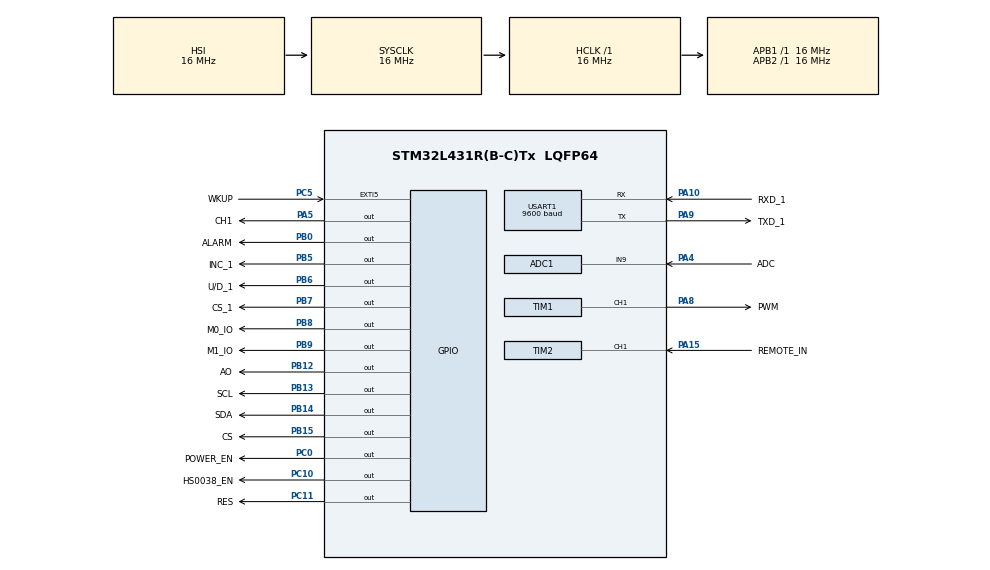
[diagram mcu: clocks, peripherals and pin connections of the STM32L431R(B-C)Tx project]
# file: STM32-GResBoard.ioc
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ADC1.Channel-0\#ChannelRegularConversion=ADC_CHANNEL_9
ADC1.NbrOfConversionFlag=1
ADC1.OffsetNumber-0\#ChannelRegularConversion=ADC_OFFSET_NONE
ADC1.Rank-0\#ChannelRegularConversion=1
ADC1.SamplingTime-0\#ChannelRegularConversion=ADC_SAMPLETIME_2CYCLES_5
ADC1.master=1
Mcu.Family=STM32L4
Mcu.Name=STM32L431R(B-C)Tx
Mcu.Package=LQFP64
NVIC.EXTI9_5_IRQn=true\:0\:0\:false\:false\:true\:true\:true\:true
NVIC.PriorityGroup=NVIC_PRIORITYGROUP_4
NVIC.RTC_WKUP_IRQn=true\:0\:0\:false\:false\:true\:true\:true\:true
NVIC.TIM1_BRK_TIM15_IRQn=true\:0\:0\:false\:false\:true\:true\:true\:true
NVIC.TIM2_IRQn=true\:0\:0\:false\:false\:true\:true\:true\:true
NVIC.TIM6_DAC_IRQn=true\:0\:0\:false\:false\:true\:true\:true\:true
PA10.GPIO_Label=RXD_1
PA10.GPIO_Speed=GPIO_SPEED_FREQ_LOW
PA10.Mode=Asynchronous
PA10.Signal=USART1_RX
PA13\ (JTMS-SWDIO).Mode=Serial_Wire
PA13\ (JTMS-SWDIO).Signal=SYS_JTMS-SWDIO
PA14\ (JTCK-SWCLK).Mode=Serial_Wire
PA14\ (JTCK-SWCLK).Signal=SYS_JTCK-SWCLK
PA15\ (JTDI).GPIO_Label=REMOTE_IN
PA15\ (JTDI).GPIO_PuPd=GPIO_PULLUP
PA15\ (JTDI).GPIO_Speed=GPIO_SPEED_FREQ_LOW
PA15\ (JTDI).Signal=S_TIM2_CH1
PA4.GPIO_Label=ADC
PA4.Signal=ADCx_IN9
PA5.GPIO_Label=CH1
PA5.GPIO_ModeDefaultOutputPP=GPIO_MODE_OUTPUT_PP
PA5.GPIO_PuPd=GPIO_PULLDOWN
PA5.PinState=GPIO_PIN_SET
PA5.Signal=GPIO_Output
PA8.GPIO_Label=PWM
PA8.GPIO_PuPd=GPIO_NOPULL
PA8.Signal=S_TIM1_CH1
PA9.GPIO_Label=TXD_1
PA9.GPIO_Speed=GPIO_SPEED_FREQ_LOW
PA9.Mode=Asynchronous
PA9.Signal=USART1_TX
PB0.GPIO_Label=ALARM
PB0.Signal=GPIO_Output
PB12.GPIO_Label=AO
PB12.GPIO_PuPd=GPIO_NOPULL
PB12.PinState=GPIO_PIN_SET
PB12.Signal=GPIO_Output
PB13.GPIO_Label=SCL
PB13.GPIO_ModeDefaultOutputPP=GPIO_MODE_OUTPUT_PP
PB13.GPIO_PuPd=GPIO_NOPULL
PB13.GPIO_Speed=GPIO_SPEED_FREQ_LOW
PB13.PinState=GPIO_PIN_SET
PB13.Signal=GPIO_Output
PB14.GPIO_Label=SDA
PB14.GPIO_ModeDefaultOutputPP=GPIO_MODE_OUTPUT_PP
PB14.GPIO_PuPd=GPIO_NOPULL
PB14.PinState=GPIO_PIN_SET
PB14.Signal=GPIO_Output
PB15.GPIO_Label=CS
PB15.PinState=GPIO_PIN_SET
PB15.Signal=GPIO_Output
PB5.GPIO_Label=INC_1
PB5.GPIO_PuPd=GPIO_PULLUP
PB5.PinState=GPIO_PIN_SET
PB5.Signal=GPIO_Output
PB6.GPIO_Label=U/D_1
PB6.GPIO_PuPd=GPIO_PULLUP
PB6.PinState=GPIO_PIN_SET
PB6.Signal=GPIO_Output
PB7.GPIO_Label=CS_1
PB7.GPIO_PuPd=GPIO_PULLUP
PB7.PinState=GPIO_PIN_SET
PB7.Signal=GPIO_Output
PB8.GPIO_Label=M0_IO
PB8.PinState=GPIO_PIN_RESET
PB8.Signal=GPIO_Output
PB9.GPIO_Label=M1_IO
PB9.PinState=GPIO_PIN_RESET
PB9.Signal=GPIO_Output
PC0.GPIO_Label=POWER_EN
PC0.GPIO_ModeDefaultOutputPP=GPIO_MODE_OUTPUT_PP
PC0.Signal=GPIO_Output
PC10.GPIO_Label=HS0038_EN
PC10.GPIO_ModeDefaultOutputPP=GPIO_MODE_OUTPUT_PP
PC10.Signal=GPIO_Output
PC11.GPIO_Label=RES
PC11.GPIO_ModeDefaultOutputPP=GPIO_MODE_OUTPUT_PP
PC11.Signal=GPIO_Output
PC14-OSC32_IN\ (PC14).Mode=LSE-External-Oscillator
PC14-OSC32_IN\ (PC14).Signal=RCC_OSC32_IN
PC15-OSC32_OUT\ (PC15).Mode=LSE-External-Oscillator
PC15-OSC32_OUT\ (PC15).Signal=RCC_OSC32_OUT
PC5.GPIO_Label=WKUP
PC5.GPIO_ModeDefaultEXTI=GPIO_MODE_IT_FALLING
PC5.GPIO_PuPd=GPIO_NOPULL
PC5.Signal=GPXTI5
ProjectManager.HeapSize=0x200
ProjectManager.StackSize=0x400
ProjectManager.TargetToolchain=MDK-ARM V5
RCC.ADCFreq_Value=32000000
RCC.AHBFreq_Value=16000000
RCC.APB1Freq_Value=16000000
RCC.APB1TimFreq_Value=16000000
RCC.APB2Freq_Value=16000000
RCC.APB2TimFreq_Value=16000000
RCC.CortexFreq_Value=16000000
RCC.HCLKFreq_Value=16000000
RCC.HSE_VALUE=8000000
RCC.HSI48_VALUE=48000000
RCC.HSI_VALUE=16000000
RCC.MSIClockRange=RCC_MSIRANGE_11
RCC.MSI_VALUE=48000000
RCC.PLLM=2
RCC.PLLN=20
RCC.PLLSourceVirtual=RCC_PLLSOURCE_HSI
RCC.RTCClockSelection=RCC_RTCCLKSOURCE_LSE
RCC.SYSCLKFreq_VALUE=16000000
RCC.SYSCLKSource=RCC_SYSCLKSOURCE_HSI
RCC.USART1CLockSelection=RCC_USART1CLKSOURCE_HSI
RCC.VCOOutputFreq_Value=160000000
RTC.WakeUpClock-WakeUp=RTC_WAKEUPCLOCK_CK_SPRE_16BITS
RTC.WakeUpCounter-WakeUp=5
SH.ADCx_IN9.0=ADC1_IN9,IN9-Single-Ended
SH.S_TIM1_CH1.0=TIM1_CH1,PWM Generation1 CH1
SH.S_TIM2_CH1.0=TIM2_CH1,Input_Capture1_from_TI1
TIM1.Channel-PWM\ Generation1\ CH1=TIM_CHANNEL_1
TIM1.Period=200-1
TIM1.Prescaler=51-1
TIM2.AutoReloadPreload=TIM_AUTORELOAD_PRELOAD_ENABLE
TIM2.Channel-Input_Capture1_from_TI1=TIM_CHANNEL_1
TIM2.Period=65536
TIM2.Prescaler=16-1
TIM6.Period=1000-1
TIM6.Prescaler=16000-1
USART1.BaudRate=9600
USART1.VirtualMode-Asynchronous=VM_ASYNC
VP_RTC_VS_RTC_Activate.Mode=RTC_Enabled
VP_RTC_VS_RTC_Calendar.Mode=RTC_Calendar
VP_RTC_VS_RTC_WakeUp_intern.Mode=WakeUp
VP_TIM1_VS_ClockSourceINT.Mode=Internal
VP_TIM6_VS_ClockSourceINT.Mode=Enable_Timer
board=custom

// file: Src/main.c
/* USER CODE BEGIN Header */
/**
 ******************************************************************************
 * @file           : main.c
 * @brief          : Main program body
 ******************************************************************************
 * @attention
 *
 * <h2><center>&copy; Copyright (c) 2022 STMicroelectronics.
 * All rights reserved.</center></h2>
 *
 * This software component is licensed by ST under BSD 3-Clause license,
 * the "License"; You may not use this file except in compliance with the
 * License. You may obtain a copy of the License at:
 *                        opensource.org/licenses/BSD-3-Clause
 *
 ******************************************************************************
 */
/* USER CODE END Header */
#include "main.h"
#include "adc.h"
#include "rtc.h"
#include "tim.h"
#include "usart.h"
#include "gpio.h"
#include "nb_iot.h"

/* USER CODE BEGIN Includes */
#include "stdio.h"
#include "ist7918.h"
#include "X9318.h"
#include <math.h>
#include "remote.h"
#include "flash.h"
#include "stm32l4xx_hal.h"

/* USER CODE END Includes */

void SystemClock_Config(void);
/* USER CODE BEGIN PFP */
extern uint16_t num_i;
extern uint8_t flag_page;
extern float Resistance, old_Resistance;
extern uint16_t lora_flag;
extern uint16_t Sleep_Time;
/* USER CODE END PFP */

int main(void)
{
    /* USER CODE BEGIN 1 */
    float adc_vol;
    double RG             = 0;
    uint8_t Data_packet[] = {0}; // Lora发送pack数据包
    float scale[]         = {6.02, 30.83, 6.02, 19.53, 77.47};
    uint32_t temp         = 0; // 用于接收红外数据
    uint8_t Factor        = 0;
    uint16_t i = 0, flag = 0; //
    uint8_t Lora_TX_BUFF[200];
    //	float LCD_RG;
    //	uint8_t bai,shi,ge,xiao_1,xiao_2,xiao_3;

    /* USER CODE END 1 */

    /* MCU Configuration--------------------------------------------------------*/

    /* Reset of all peripherals, Initializes the Flash interface and the Systick. */
    HAL_Init();

    /* Configure the system clock */
    SystemClock_Config();

    /* Initialize all configured peripherals */
    MX_GPIO_Init();
    MX_USART1_UART_Init();
    MX_TIM1_Init();
    MX_ADC1_Init();
    MX_RTC_Init();
    MX_TIM2_Init();
    MX_TIM6_Init();
    /* USER CODE BEGIN 2 */
    HAL_TIM_PWM_Start(&htim1, TIM_CHANNEL_1);   // PWM
    HAL_TIM_IC_Start_IT(&htim2, TIM_CHANNEL_1); // 启动输入捕获
    HAL_TIM_Base_Start_IT(&htim6);              // 启动定时器TIM6
    LCD_init();                                 // 液晶屏初始化
    X9318_Init();                               // 数字电位器初始化
    RTC_TimeShow_1();                           // rtc时间获取
    LCD_Clear();                                // LCD清屏
    num_i = 0;                                  //
    NB_Init();                                  // NB-IOT初始化

    /* USER CODE END 2 */

    /* Infinite loop */
    /* USER CODE BEGIN WHILE */

    while (1) {
        if (IR_Scanf(&temp)) // 调试和显示
        {
            Remote_Set(keyscan(temp));
            num_i = 5;
        } else {

            Resistance_Display(Resistance, flag_page);

            if (num_i <= 2) //     ||(flag_recog==1)//唤醒    每次唤醒 60s
            {
                num_i = 2;
                HAL_Init();
                SystemClock_Config(); // 系统时钟配置
                Low_power_Wakeup();   // 唤醒配置
                Power_1;              // 放大器电源打开
                REMOTE_1();           // 红外接收头电源打开
            } else if (num_i > 2 & num_i < 30) {
                Power_1;                                           // 放大器电源打开
                __HAL_TIM_SET_COMPARE(&htim1, TIM_CHANNEL_1, 100); // 设置PWM占空比，发射
                adc_vol = Get_Adc_Average(150);                    // 采样--测量150次
                RG      = (double)adc_vol / scale[Factor];         // 计算得到原始信号

                if (Factor == 0)
                    Resistance = 56.638 * pow(RG, -1.209); //
                else if (Factor == 1)
                    Resistance = 22.111 * pow(RG, -0.961); //
                else if (Factor == 2)
                    Resistance = 499.13 * pow(RG, -0.922); //
                else if (Factor == 3)
                    Resistance = 748.16 * pow(RG, -0.983); //
                else if (Factor == 4)
                    Resistance = 896.73 * pow(RG, -1.037); //

                if (adc_vol < 300 && flag == 0) // 此时信号强度在偏小
                {
                    flag = 1; // 调节标志位
                    if (Factor >= 4)
                        Factor = 4;
                    else
                        Factor++;
                } else if (adc_vol > 2800 && flag == 0) // 此时信号强度在偏大
                {
                    flag = 1;
                    if (Factor < 1)
                        Factor = 0;
                    else
                        Factor--;
                }
                if (flag == 1) {
                    switch (Factor) {
                        case 0:
                            CH1_0();
                            X9318_UD_D();
                            HAL_Delay(2);
                            for (i = 0; i < 99; i++) X9318_DOWN(); // 雨刷向下

                            X9318_UD_U();
                            HAL_Delay(2);
                            for (i = 0; i < 2; i++) X9318_UP(); // 雨刷向上
                            flag = 0;
                            break;
                        case 1:
                            CH1_0();
                            X9318_UD_D();
                            HAL_Delay(2);
                            for (i = 0; i < 10; i++) X9318_DOWN(); // 雨刷向下

                            X9318_UD_U();
                            HAL_Delay(2);
                            for (i = 0; i < 83; i++) X9318_UP(); // 雨刷向上
                            flag = 0;
                            break;
                        case 2:
                            CH1_1();
                            X9318_UD_D();
                            HAL_Delay(2);
                            for (i = 0; i < 99; i++) X9318_DOWN(); // 雨刷向下

                            X9318_UD_U();
                            HAL_Delay(2);
                            for (i = 0; i < 2; i++) X9318_UP(); // 雨刷向上
                            flag = 0;
                            break;
                        case 3:
                            CH1_1();
                            X9318_UD_D();
                            HAL_Delay(2);
                            for (i = 0; i < 99; i++) X9318_DOWN(); // 雨刷向下

                            X9318_UD_U();
                            HAL_Delay(2);
                            for (i = 0; i < 74; i++) X9318_UP(); // 雨刷向上
                            flag = 0;
                            break;
                        case 4:
                            CH1_1();
                            X9318_UD_D();
                            HAL_Delay(2);
                            for (i = 0; i < 99; i++) X9318_DOWN_1(); // 雨刷向下

                            X9318_UD_U();
                            HAL_Delay(2);
                            for (i = 0; i < 93; i++) X9318_UP_1(); // 雨刷向上
                            flag = 0;
                            break;
                    }
                }
            } else if (num_i >= 30 & num_i < 60) // 30s后，
            {
                Power_0;
                if (num_i % 5 == 0 && lora_flag == 1) //
                {
                    lora_flag = 0;
                    HAL_Delay(5000);
                    NB_SendResistanceData(Addr, station, control_unit, old_Resistance);
                }
            } else if (num_i >= 60) //
            {
                Power_1; // 放大器电源打开
                HAL_Delay(1000);
                num_i = 0;
                Power_0;    // 放大器电源关闭
                REMOTE_0(); // 红外遥控电源关闭
                Low_power_Sleep(Sleep_Time); // 低功耗睡眠配置--设置休眠时间**小时
            }
        }
    }
    /* USER CODE END 3 */
}

void SystemClock_Config(void)
{
    RCC_OscInitTypeDef RCC_OscInitStruct = {0};
    RCC_ClkInitTypeDef RCC_ClkInitStruct = {0};

    /** Configure the main internal regulator output voltage
     */
    if (HAL_PWREx_ControlVoltageScaling(PWR_REGULATOR_VOLTAGE_SCALE1) != HAL_OK) { Error_Handler(); }

    /** Configure LSE Drive Capability
     */
    HAL_PWR_EnableBkUpAccess();
    __HAL_RCC_LSEDRIVE_CONFIG(RCC_LSEDRIVE_LOW);

    /** Initializes the RCC Oscillators according to the specified parameters
     * in the RCC_OscInitTypeDef structure.
     */
    RCC_OscInitStruct.OscillatorType      = RCC_OSCILLATORTYPE_HSI | RCC_OSCILLATORTYPE_LSE;
    RCC_OscInitStruct.LSEState            = RCC_LSE_ON;
    RCC_OscInitStruct.HSIState            = RCC_HSI_ON;
    RCC_OscInitStruct.HSICalibrationValue = RCC_HSICALIBRATION_DEFAULT;
    RCC_OscInitStruct.PLL.PLLState        = RCC_PLL_NONE;
    if (HAL_RCC_OscConfig(&RCC_OscInitStruct) != HAL_OK) { Error_Handler(); }

    /** Initializes the CPU, AHB and APB buses clocks
     */
    RCC_ClkInitStruct.ClockType = RCC_CLOCKTYPE_HCLK | RCC_CLOCKTYPE_SYSCLK | RCC_CLOCKTYPE_PCLK1 | RCC_CLOCKTYPE_PCLK2;
    RCC_ClkInitStruct.SYSCLKSource   = RCC_SYSCLKSOURCE_HSI;
    RCC_ClkInitStruct.AHBCLKDivider  = RCC_SYSCLK_DIV1;
    RCC_ClkInitStruct.APB1CLKDivider = RCC_HCLK_DIV1;
    RCC_ClkInitStruct.APB2CLKDivider = RCC_HCLK_DIV1;

    if (HAL_RCC_ClockConfig(&RCC_ClkInitStruct, FLASH_LATENCY_0) != HAL_OK) { Error_Handler(); }
}

/* USER CODE BEGIN 4 */
void HAL_TIM_IC_CaptureCallback(TIM_HandleTypeDef *htim) // 输入捕获
{
    if (TIM2 == htim->Instance) { IR_CaptureCallback(); }
}
/* USER CODE END 4 */

void Error_Handler(void)
{
}
